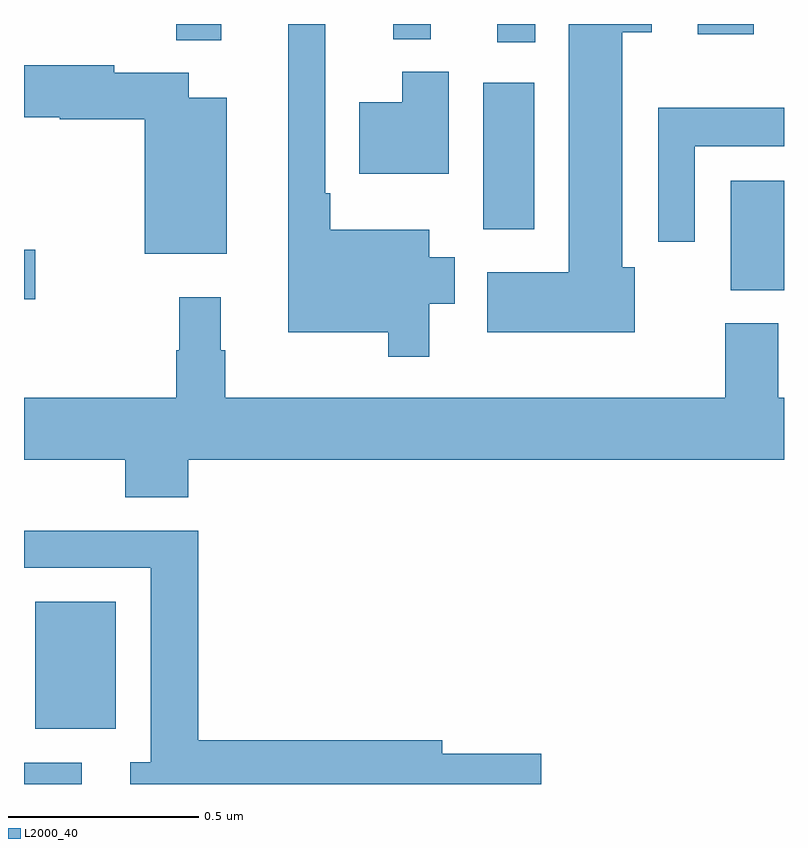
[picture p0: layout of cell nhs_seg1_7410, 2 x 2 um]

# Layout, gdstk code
import gdstk
lib = gdstk.Library(unit=1e-6, precision=1e-09)
def R(c, l, rs):  # rectangles x0, y0, x1, y1
    for r in rs: c.add(gdstk.rectangle(r[:2], r[2:], *l))
def P(c, l, *ps):  # polygons
    for p in ps: c.add(gdstk.Polygon(p, *l))
L2000_40 = (2000, 40)

nhs_seg1_7410 = lib.new_cell('nhs_seg1_7410')
R(nhs_seg1_7410, L2000_40, [(203,564.199,203.152,564.255), (203.03,564.344,203.242,564.679), (203,565.475,203.029,565.605), (204.86,565.499,205,565.786), (204.209,565.659,204.343,566.044), (204.245,566.151,204.346,566.199), (203.401,566.156,203.519,566.199), (203.972,566.159,204.07,566.199), (204.773,566.172,204.921,566.199)])
P(nhs_seg1_7410, L2000_40, [(204.067,565.463),(204.133,565.463),(204.133,565.585),(204.067,565.585),(204.067,565.657),(203.806,565.657),(203.806,565.753),(203.793,565.753),(203.793,566.199),(203.696,566.199),(203.696,565.388),(203.958,565.388),(203.958,565.323),(204.067,565.323)],
  [(204.607,565.559),(204.574,565.559),(204.574,566.177),(204.652,566.177),(204.652,566.199),(204.434,566.199),(204.434,565.546),(204.219,565.546),(204.219,565.388),(204.607,565.388)],
  [(203.533,566.005),(203.434,566.005),(203.434,566.071),(203.238,566.071),(203.238,566.091),(203,566.091),(203,565.954),(203.094,565.954),(203.094,565.949),(203.318,565.949),(203.318,565.595),(203.533,565.595)],
  [(204.118,566.074),(203.996,566.074),(203.996,565.993),(203.882,565.993),(203.882,565.805),(204.118,565.805)],
  [(204.765,565.877),(205,565.877),(205,565.978),(204.669,565.978),(204.669,565.626),(204.765,565.626)],
  [(203.432,565.052),(205,565.052),(205,565.216),(204.985,565.216),(204.985,565.411),(204.845,565.411),(204.845,565.216),(203.53,565.216),(203.53,565.34),(203.518,565.34),(203.518,565.48),(203.409,565.48),(203.409,565.34),(203.401,565.34),(203.401,565.216),(203,565.216),(203,565.052),(203.267,565.052),(203.267,564.953),(203.432,564.953)],
  [(204.361,564.278),(204.1,564.278),(204.1,564.314),(203.459,564.314),(203.459,564.866),(203,564.866),(203,564.768),(203.333,564.768),(203.333,564.256),(203.279,564.256),(203.279,564.199),(204.361,564.199)])

lib.write_gds('nhs_seg1_7410.gds')
